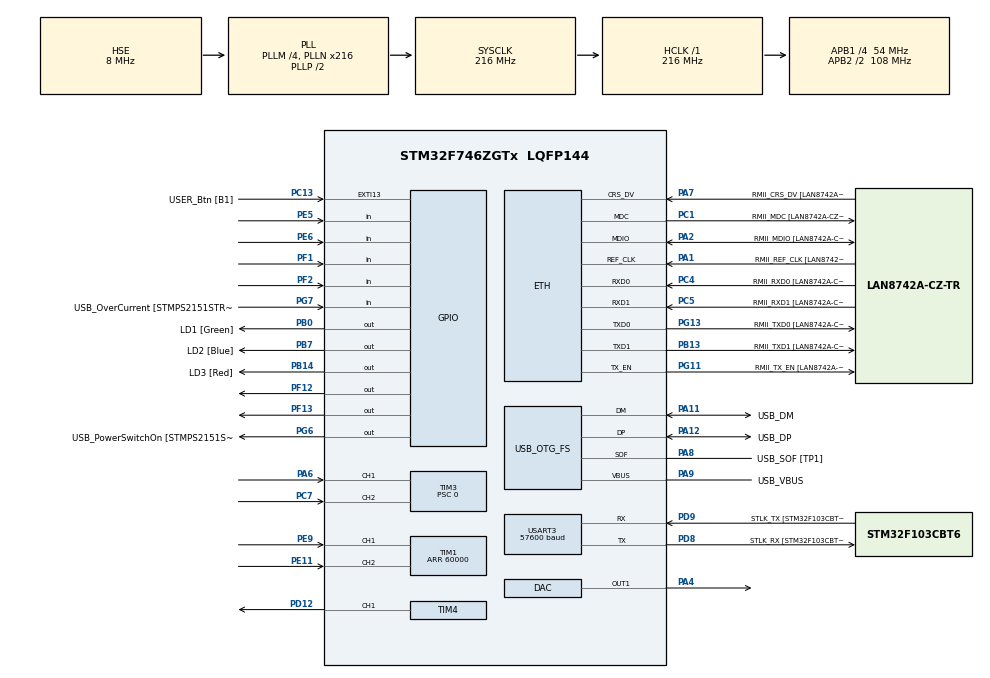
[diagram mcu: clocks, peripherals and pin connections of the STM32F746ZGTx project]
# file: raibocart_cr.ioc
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Dma.Request0=USART3_RX
Dma.Request1=USART3_TX
Dma.USART3_RX.0.Direction=DMA_PERIPH_TO_MEMORY
Dma.USART3_RX.0.FIFOMode=DMA_FIFOMODE_DISABLE
Dma.USART3_RX.0.Instance=DMA1_Stream1
Dma.USART3_RX.0.MemDataAlignment=DMA_MDATAALIGN_BYTE
Dma.USART3_RX.0.MemInc=DMA_MINC_ENABLE
Dma.USART3_RX.0.Mode=DMA_NORMAL
Dma.USART3_RX.0.PeriphDataAlignment=DMA_PDATAALIGN_BYTE
Dma.USART3_RX.0.PeriphInc=DMA_PINC_DISABLE
Dma.USART3_RX.0.Priority=DMA_PRIORITY_LOW
Dma.USART3_TX.1.Direction=DMA_MEMORY_TO_PERIPH
Dma.USART3_TX.1.FIFOMode=DMA_FIFOMODE_DISABLE
Dma.USART3_TX.1.Instance=DMA1_Stream3
Dma.USART3_TX.1.MemDataAlignment=DMA_MDATAALIGN_BYTE
Dma.USART3_TX.1.MemInc=DMA_MINC_ENABLE
Dma.USART3_TX.1.Mode=DMA_NORMAL
Dma.USART3_TX.1.PeriphDataAlignment=DMA_PDATAALIGN_BYTE
Dma.USART3_TX.1.PeriphInc=DMA_PINC_DISABLE
Dma.USART3_TX.1.Priority=DMA_PRIORITY_LOW
ETH.MediaInterface=HAL_ETH_RMII_MODE
ETH.PHY_Name=LAN8742A_PHY_ADDRESS
ETH.PHY_Value=0
ETH.PhyAddress=0
Mcu.Family=STM32F7
Mcu.Name=STM32F746ZGTx
Mcu.Package=LQFP144
NVIC.DMA1_Stream1_IRQn=true\:0\:0\:false\:false\:true\:false\:true\:true
NVIC.DMA1_Stream3_IRQn=true\:0\:0\:false\:false\:true\:false\:true\:true
NVIC.PriorityGroup=NVIC_PRIORITYGROUP_4
NVIC.TIM2_IRQn=true\:0\:0\:false\:false\:true\:true\:true\:true
NVIC.TIM5_IRQn=true\:0\:0\:false\:false\:true\:true\:true\:true
NVIC.USART3_IRQn=true\:0\:0\:false\:false\:true\:true\:true\:true
PA1.GPIO_Label=RMII_REF_CLK [LAN8742A-CZ-TR_REFCLK0]
PA1.Mode=RMII
PA1.Signal=ETH_REF_CLK
PA10.GPIO_Label=USB_ID
PA10.Signal=USB_OTG_FS_ID
PA11.GPIO_Label=USB_DM
PA11.Mode=Device_Only
PA11.Signal=USB_OTG_FS_DM
PA12.GPIO_Label=USB_DP
PA12.Mode=Device_Only
PA12.Signal=USB_OTG_FS_DP
PA13.GPIO_Label=TMS
PA13.Mode=Serial_Wire
PA13.Signal=SYS_JTMS-SWDIO
PA14.GPIO_Label=TCK
PA14.Mode=Serial_Wire
PA14.Signal=SYS_JTCK-SWCLK
PA2.GPIO_Label=RMII_MDIO [LAN8742A-CZ-TR_MDIO]
PA2.Mode=RMII
PA2.Signal=ETH_MDIO
PA4.Signal=COMP_DAC1_group
PA6.Signal=S_TIM3_CH1
PA7.GPIO_Label=RMII_CRS_DV [LAN8742A-CZ-TR_CRS_DV]
PA7.Mode=RMII
PA7.Signal=ETH_CRS_DV
PA8.GPIO_Label=USB_SOF [TP1]
PA8.Mode=Activate_SOF_FS
PA8.Signal=USB_OTG_FS_SOF
PA9.GPIO_Label=USB_VBUS
PA9.Mode=Activate_VBUS
PA9.Signal=USB_OTG_FS_VBUS
PB0.GPIO_Label=LD1 [Green]
PB0.Signal=GPIO_Output
PB13.GPIO_Label=RMII_TXD1 [LAN8742A-CZ-TR_TXD1]
PB13.Mode=RMII
PB13.Signal=ETH_TXD1
PB14.GPIO_Label=LD3 [Red]
PB14.Signal=GPIO_Output
PB3.GPIO_Label=SW0
PB3.Signal=SYS_JTDO-SWO
PB7.GPIO_Label=LD2 [Blue]
PB7.Signal=GPIO_Output
PC1.GPIO_Label=RMII_MDC [LAN8742A-CZ-TR_MDC]
PC1.Mode=RMII
PC1.Signal=ETH_MDC
PC13.GPIO_Label=USER_Btn [B1]
PC13.Signal=GPXTI13
PC14/OSC32_IN.Mode=LSE-External-Oscillator
PC14/OSC32_IN.Signal=RCC_OSC32_IN
PC15/OSC32_OUT.Mode=LSE-External-Oscillator
PC15/OSC32_OUT.Signal=RCC_OSC32_OUT
PC4.GPIO_Label=RMII_RXD0 [LAN8742A-CZ-TR_RXD0]
PC4.Mode=RMII
PC4.Signal=ETH_RXD0
PC5.GPIO_Label=RMII_RXD1 [LAN8742A-CZ-TR_RXD1]
PC5.Mode=RMII
PC5.Signal=ETH_RXD1
PC7.Signal=S_TIM3_CH2
PD12.Signal=S_TIM4_CH1
PD8.GPIO_Label=STLK_RX [STM32F103CBT6_PA3]
PD8.GPIO_PuPd=GPIO_PULLUP
PD8.Mode=Asynchronous
PD8.Signal=USART3_TX
PD9.GPIO_Label=STLK_TX [STM32F103CBT6_PA2]
PD9.GPIO_PuPd=GPIO_PULLUP
PD9.Mode=Asynchronous
PD9.Signal=USART3_RX
PE11.Signal=S_TIM1_CH2
PE5.Signal=GPIO_Input
PE6.Signal=GPIO_Input
PE9.Signal=S_TIM1_CH1
PF1.Signal=GPIO_Input
PF12.Signal=GPIO_Output
PF13.Signal=GPIO_Output
PF2.Signal=GPIO_Input
PG11.GPIO_Label=RMII_TX_EN [LAN8742A-CZ-TR_TXEN]
PG11.Mode=RMII
PG11.Signal=ETH_TX_EN
PG13.GPIO_Label=RMII_TXD0 [LAN8742A-CZ-TR_TXD0]
PG13.Mode=RMII
PG13.Signal=ETH_TXD0
PG6.GPIO_Label=USB_PowerSwitchOn [STMPS2151STR_EN]
PG6.Signal=GPIO_Output
PG7.GPIO_Label=USB_OverCurrent [STMPS2151STR_FAULT]
PG7.Signal=GPIO_Input
PH0/OSC_IN.GPIO_Label=MCO [STM32F103CBT6_PA8]
PH0/OSC_IN.Mode=HSE-External-Clock-Source
PH0/OSC_IN.Signal=RCC_OSC_IN
PH1/OSC_OUT.Mode=HSE-External-Clock-Source
PH1/OSC_OUT.Signal=RCC_OSC_OUT
ProjectManager.HeapSize=0x200
ProjectManager.StackSize=0x400
ProjectManager.TargetToolchain=STM32CubeIDE
RCC.48MHZClocksFreq_Value=24000000
RCC.AHBFreq_Value=216000000
RCC.APB1CLKDivider=RCC_HCLK_DIV4
RCC.APB1Freq_Value=54000000
RCC.APB1TimFreq_Value=108000000
RCC.APB2CLKDivider=RCC_HCLK_DIV2
RCC.APB2Freq_Value=108000000
RCC.APB2TimFreq_Value=216000000
RCC.CortexFreq_Value=216000000
RCC.HCLKFreq_Value=216000000
RCC.HSE_VALUE=8000000
RCC.HSI_VALUE=16000000
RCC.PLLM=4
RCC.PLLMUL=RCC_PLL_MUL9
RCC.PLLN=216
RCC.PLLQ=9
RCC.PRESCALERUSB=RCC_USBCLKSOURCE_PLL_DIV1_5
RCC.SYSCLKFreq_VALUE=216000000
RCC.SYSCLKSource=RCC_SYSCLKSOURCE_PLLCLK
RCC.SYSCLKSourceVirtual=RCC_SYSCLKSOURCE_PLLCLK
RCC.USBFreq_Value=48000000
RCC.VCOOutputFreq_Value=432000000
SH.COMP_DAC1_group.0=DAC_OUT1,DAC_OUT1
SH.S_TIM1_CH1.0=TIM1_CH1,Encoder_Interface
SH.S_TIM1_CH2.0=TIM1_CH2,Encoder_Interface
SH.S_TIM3_CH1.0=TIM3_CH1,Encoder_Interface
SH.S_TIM3_CH2.0=TIM3_CH2,Encoder_Interface
SH.S_TIM4_CH1.0=TIM4_CH1,PWM Generation1 CH1
TIM1.EncoderMode=TIM_ENCODERMODE_TI12
TIM1.Period=60000
TIM2.Period=100000
TIM2.Prescaler=540-1
TIM3.AutoReloadPreload=TIM_AUTORELOAD_PRELOAD_DISABLE
TIM3.EncoderMode=TIM_ENCODERMODE_TI12
TIM3.Period=1000
TIM3.Prescaler=0
TIM4.Channel-PWM\ Generation1\ CH1=TIM_CHANNEL_1
TIM4.Period=1000
TIM4.Prescaler=1
TIM5.Period=1000
TIM5.Prescaler=540-1
USART3.BaudRate=57600
USART3.VirtualMode-Asynchronous=VM_ASYNC
USB_OTG_FS.VirtualMode=Device_Only
VP_TIM2_VS_ClockSourceINT.Mode=Internal
VP_TIM5_VS_ClockSourceINT.Mode=Internal
board=NUCLEO-F746ZG

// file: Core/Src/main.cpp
/* USER CODE BEGIN Header */
/**
  ******************************************************************************
  * @file           : main.c
  * @brief          : Main program body
  ******************************************************************************
  * @attention
  *
  * Copyright (c) 2024 STMicroelectronics.
  * All rights reserved.
  *
  * This software is licensed under terms that can be found in the LICENSE file
  * in the root directory of this software component.
  * If no LICENSE file comes with this software, it is provided AS-IS.
  *
  ******************************************************************************
  */
/* USER CODE END Header */
#include <main.h>
#include <string.h>

/* USER CODE BEGIN Includes */
#include <ros.h>
#include <ros/time.h>
#include <raibo_msgs/speed_fb.h>
#include <raibo_msgs/speed_sp.h>
#include <stdio.h>
/* USER CODE END Includes */

/* USER CODE BEGIN PTD */
typedef struct {
	double pps = 0.0;
	double rpm = 0.0;
	double kmh = 0.0;
	int16_t delta_encoder = 0.0;
	int16_t angular = 0.0;
	int encoder_pose = 0;
	int steering_speed = 0;
} SPEED;

typedef struct {
	double bldc_sp = 0.0;
	double bldc_pv = 0.0;
	double angle_sp = 0.0;
	double angle_pv = 0.0;
} CONTROL;

typedef struct {
	double kp = 0;
	double ki = 0;
	double kd = 0;
	double err = 0;
	double err_l = 0;
	double sum_err = 0;
} PID;
/* USER CODE END PTD */

/* USER CODE BEGIN PD */
#define SPEED_SP	0
#define PUBLISH		1
#define BLDC		2
#define STEERING	3
/* USER CODE END PD */

#if defined ( __ICCARM__ ) /*!< IAR Compiler */
#pragma location=0x2004c000
ETH_DMADescTypeDef  DMARxDscrTab[ETH_RX_DESC_CNT]; /* Ethernet Rx DMA Descriptors */
#pragma location=0x2004c0a0
ETH_DMADescTypeDef  DMATxDscrTab[ETH_TX_DESC_CNT]; /* Ethernet Tx DMA Descriptors */

#elif defined ( __CC_ARM )  /* MDK ARM Compiler */

__attribute__((at(0x2004c000))) ETH_DMADescTypeDef  DMARxDscrTab[ETH_RX_DESC_CNT]; /* Ethernet Rx DMA Descriptors */
__attribute__((at(0x2004c0a0))) ETH_DMADescTypeDef  DMATxDscrTab[ETH_TX_DESC_CNT]; /* Ethernet Tx DMA Descriptors */

#elif defined ( __GNUC__ ) /* GNU Compiler */
ETH_DMADescTypeDef DMARxDscrTab[ETH_RX_DESC_CNT] __attribute__((section(".RxDecripSection"))); /* Ethernet Rx DMA Descriptors */
ETH_DMADescTypeDef DMATxDscrTab[ETH_TX_DESC_CNT] __attribute__((section(".TxDecripSection")));   /* Ethernet Tx DMA Descriptors */

#endif

ETH_TxPacketConfig TxConfig;

DAC_HandleTypeDef hdac;

ETH_HandleTypeDef heth;

TIM_HandleTypeDef htim1;
TIM_HandleTypeDef htim2;
TIM_HandleTypeDef htim3;
TIM_HandleTypeDef htim4;
TIM_HandleTypeDef htim5;

UART_HandleTypeDef huart3;
DMA_HandleTypeDef hdma_usart3_rx;
DMA_HandleTypeDef hdma_usart3_tx;

PCD_HandleTypeDef hpcd_USB_OTG_FS;

/* USER CODE BEGIN PV */
//Initial variable of the control section
CONTROL _cmd_vel;
SPEED _hallBLDC, _encoder;
PID _MotorBLDC, _MotorSteering;
double speed_output;
unsigned char val[100];
unsigned char val1[100];

unsigned char param[100]; //sprintf test
unsigned char param1[100]; //sprintf test

//Initial variable of the control condition
bool initial_state=true;
uint8_t initial_count=0;

bool initial_loop = true;
bool hold_bldc_sp = false;
double pre_bldc_sp = 0;
double lastest_bldc_sp = 0;\

bool dt_init = true;
int time, time_tmp;

// Steering confirm(fix) variable
bool steering_init = false;
int setpoint_right,setpoint_left,setpoint_middle;
//teseting variable
bool steering_PID_state = false;
int number_testing = 0;
/* USER CODE END PV */

void SystemClock_Config(void);
static void MX_GPIO_Init(void);
static void MX_DMA_Init(void);
static void MX_USART3_UART_Init(void);
static void MX_ETH_Init(void);
static void MX_USB_OTG_FS_PCD_Init(void);
static void MX_DAC_Init(void);
static void MX_TIM1_Init(void);
static void MX_TIM2_Init(void);
static void MX_TIM3_Init(void);
static void MX_TIM5_Init(void);
static void MX_TIM4_Init(void);

/* USER CODE BEGIN 0 */
ros::NodeHandle nh_;

raibo_msgs::speed_fb motor_fb_;
ros::Time last_time_[4];

void commandSpeedSPCallback(const raibo_msgs::speed_sp &msg);

ros::Publisher speed_fb_pub_("/micro/speed_fb", &motor_fb_);
ros::Subscriber<raibo_msgs::speed_sp> speed_sp_sub_("/micro/speed_sp",
		&commandSpeedSPCallback);

void HAL_UART_TxCpltCallback(UART_HandleTypeDef *huart) {
	nh_.getHardware()->flush();
}

void HAL_UART_RxCpltCallback(UART_HandleTypeDef *huart) {
	nh_.getHardware()->reset_rbuf();
}

void commandSpeedSPCallback(const raibo_msgs::speed_sp &msg) {
	last_time_[SPEED_SP] = nh_.now();
	_cmd_vel.bldc_sp = (double) msg.bldc_speed_sp;
	_cmd_vel.angle_sp = (double) msg.steering_speed_sp;
	motor_fb_.bldc_rpm_sp = _cmd_vel.bldc_sp;
	motor_fb_.steering_angle_sp = _cmd_vel.angle_sp;
}

void PIDControl_BLDC(PID *_pid_data, double _linear_x, double _pv, double _dt) {
	// init function var
	double dac_speed = 0;
	double min_forward = 1600;
	double min_backward = 1350;
	//prevent sum_err overflow at the start
	if(initial_state){_pid_data->err=0; _pid_data->sum_err += _pid_data->err; initial_count++;}
	if(initial_count>45){initial_state = false;}
	//assign error var
	_pid_data->err = abs(_linear_x) - _pv;
	if (_pid_data->err > 1000.0){_pid_data->err = 1000.0;}
	if (_pid_data->err < -1000.0){_pid_data->err = -1000.0;}
	_pid_data->sum_err += _pid_data->err;

	if(abs(_linear_x) > 1.2){
		dac_speed = (_pid_data->kp * _pid_data->err)
						+ (_pid_data->ki * _pid_data->sum_err * _dt)
						+ (_pid_data->kd * ((_pid_data->err - _pid_data->err_l) / _dt));
		_pid_data->err_l = _pid_data->err;

		if (dac_speed > 4095.0) dac_speed = 4095.0;
		if (dac_speed < 0) dac_speed = 0;
		// reduce scaling time
		speed_output = dac_speed;
	}
	//certain use for lower limit of the car (minimum speed at 0.9 kmh)
	if(abs(_linear_x) <= 0.3 ){_linear_x = 0.0; _pid_data->sum_err = 0; _pid_data->err = 0; speed_output = 0;}
	if(_linear_x > 0.3 && _linear_x <= 1.2){speed_output = min_forward; _pid_data->sum_err = 260; _pid_data->err = 0;}
	if(_linear_x < -0.3 && _linear_x >= -1.2){speed_output = min_backward; _pid_data->sum_err = 260; _pid_data->err = 0;}

	if(_linear_x > 0.0){
		motor_fb_.forward_motor = true;
		if(_pid_data->sum_err <= 260){dac_speed = min_forward;}
	}
	else if(_linear_x < 0.0){
		motor_fb_.forward_motor = false;
		if(_pid_data->sum_err <= 260){dac_speed = min_backward;}
	}
	else{
		motor_fb_.forward_motor = false;
	}

	motor_fb_.bldc_kmph_fb = _pv; // don't change it's for controllino

	motor_fb_.bldc_mps_fb = dac_speed; //in real situation the feedback should be speed_output for accurate speed output.

}

void DACControlSpeed(double _linear_x) {
	PIDControl_BLDC(&_MotorBLDC, _linear_x, _hallBLDC.kmh, 0.5);

	if(!hold_bldc_sp && motor_fb_.forward_motor && speed_output>=1600){
		HAL_DAC_SetValue(&hdac, DAC_CHANNEL_1, DAC_ALIGN_12B_R, speed_output);
	}
	else if(!hold_bldc_sp && !motor_fb_.forward_motor && speed_output>=1350){
		HAL_DAC_SetValue(&hdac, DAC_CHANNEL_1, DAC_ALIGN_12B_R, speed_output);
	}
	else if(hold_bldc_sp){
		HAL_DAC_SetValue(&hdac, DAC_CHANNEL_1, DAC_ALIGN_12B_R, 0);
		if(_hallBLDC.kmh < 0.2){
			HAL_Delay(500);
			hold_bldc_sp = false;
		}
	}
	else{
		HAL_DAC_SetValue(&hdac, DAC_CHANNEL_1, DAC_ALIGN_12B_R, 0);
	}

	motor_fb_.bldc_rpm_fb = _MotorBLDC.sum_err;
}

void Steering_Control(int sp, int ap ,int dt){
	time = HAL_GetTick();
	int err_dt = 0;
	int desire_pose_tmp = 0;
	int desire_pose = sp;

	if(desire_pose != desire_pose_tmp){dt_init = true; desire_pose_tmp = sp; /*_MotorSteering.sum_err = 0; _MotorSteering.err_l = 0;*/}
	if(dt_init){time_tmp = time; dt_init = false;}

	_MotorSteering.err = sp-ap;
	if (_MotorSteering.err > 1000.0){_MotorSteering.err = 1000.0;}
	if (_MotorSteering.err < -1000.0){_MotorSteering.err = -1000.0;}

	if(time - time_tmp >= dt){
		if(abs(_MotorSteering.err)>=10){
		_MotorSteering.sum_err += _MotorSteering.err;
		}
		err_dt = (_MotorSteering.err - _MotorSteering.err_l)/(dt/1000);
		_MotorSteering.err_l = _MotorSteering.err;
		time_tmp = time;
	}

	_encoder.steering_speed = (_MotorSteering.kp*_MotorSteering.err)
			+ (_MotorSteering.ki*_MotorSteering.sum_err)
			+ (_MotorSteering.kd * err_dt);

	if(_encoder.steering_speed > 0){
		HAL_GPIO_WritePin(GPIOF, GPIO_PIN_12, GPIO_PIN_RESET);
		HAL_GPIO_WritePin(GPIOF, GPIO_PIN_13, GPIO_PIN_SET);
	}
	else if(_encoder.steering_speed < 0){
		_encoder.steering_speed *= -1;
		HAL_GPIO_WritePin(GPIOF, GPIO_PIN_12, GPIO_PIN_SET);
		HAL_GPIO_WritePin(GPIOF, GPIO_PIN_13, GPIO_PIN_RESET);
	}
	else if(_encoder.steering_speed == 0){
		HAL_GPIO_WritePin(GPIOF, GPIO_PIN_12, GPIO_PIN_RESET);
		HAL_GPIO_WritePin(GPIOF, GPIO_PIN_13, GPIO_PIN_RESET);
	}

//	sprintf((char*)val,"Cureent_speed %d\r\n", _encoder.steering_speed);
//	HAL_UART_Transmit(&huart3, val, strlen((char*)val), 1000);

	if(_encoder.steering_speed > 1000) _encoder.steering_speed=1000;
	else if(_encoder.steering_speed<200 && _encoder.steering_speed>0) _encoder.steering_speed=200;

	if(abs(_MotorSteering.err)<=10){
		_encoder.steering_speed = 0;
	}
	TIM4->CCR1 = _encoder.steering_speed;
//	if(_MotorSteering.sum_err > -650.0 && _MotorSteering.sum_err < 650.0)steering_PID_state = true;
//	if(_MotorSteering.sum_err < -650.0 && _MotorSteering.sum_err > 650.0)steering_PID_state = false;

	motor_fb_.steering_angle_sp = sp;
	motor_fb_.steering_angular_fb = _encoder.encoder_pose;
	motor_fb_.steering_rpm_fb = TIM4->CCR1;
//	motor_fb_.bldc_mps_fb = _MotorSteering.err;
//	motor_fb_.bldc_kmph_fb = _MotorSteering.sum_err;
//	motor_fb_.bldc_rpm_fb = _encoder.steering_speed;

}

void Steering_Init(){
	bool set_centure = true;
	bool set_wheel = false;
	bool seton_right = true;
	bool seton_left = false;
	int go_right, go_left = 0;

	HAL_DAC_SetValue(&hdac, DAC_CHANNEL_1, DAC_ALIGN_12B_R, 0.0);
	while(set_centure){
		if(seton_right){ //6
			while(!HAL_GPIO_ReadPin(GPIOE, GPIO_PIN_6)){
				HAL_GPIO_WritePin(GPIOF, GPIO_PIN_12, GPIO_PIN_SET);
				HAL_GPIO_WritePin(GPIOF, GPIO_PIN_13, GPIO_PIN_RESET);
				TIM4->CCR1 = 300;
			}
			TIM4->CCR1 = 0;
			go_right = _encoder.encoder_pose;
			seton_left = true;
			seton_right	= false;
		}
		HAL_Delay(600);
		if(seton_left){ //5
			while(!HAL_GPIO_ReadPin(GPIOE, GPIO_PIN_5)){
				HAL_GPIO_WritePin(GPIOF, GPIO_PIN_12, GPIO_PIN_RESET);
				HAL_GPIO_WritePin(GPIOF, GPIO_PIN_13, GPIO_PIN_SET);
				TIM4->CCR1 = 300;
			}
			TIM4->CCR1 = 0;
			go_left = _encoder.encoder_pose;
			setpoint_middle = (go_left + go_right)/2;
			seton_left = false;
			seton_right	= false;
		}
		set_wheel = true;
		set_centure = false;
	}
	HAL_Delay(600);
	while(set_wheel){
		Steering_Control(setpoint_middle,_encoder.encoder_pose,100);
		if(_encoder.encoder_pose<=setpoint_middle+5 && _encoder.encoder_pose>=setpoint_middle-5){
			htim3.Instance->CNT = (setpoint_middle-htim3.Instance->CNT)+500;
			TIM4->CCR1 = 0;
			setpoint_middle = 500; // +- ~190
			setpoint_left = 500 - ((go_right - go_left)/2); //300 - left
			setpoint_right = 500 + ((go_right - go_left)/2); //~700 - right
			set_wheel = false;

//			sprintf((char*)val,"Cureent %d, Left %d,Right %d\r\n", htim3.Instance->CNT, setpoint_left, setpoint_right);
//			HAL_UART_Transmit(&huart3, val, strlen((char*)val), 1000);
		}

	}
	steering_init = true;
}

void ros_setup(void) {
	nh_.initNode();
	nh_.advertise(speed_fb_pub_);
	nh_.subscribe(speed_sp_sub_);

	motor_fb_.bldc_rpm_sp = 0.0;
	motor_fb_.bldc_rpm_fb = 0.0;
	motor_fb_.bldc_mps_fb = 0.0;
	motor_fb_.bldc_kmph_fb = 0.0;
	motor_fb_.steering_angle_sp = 0.0;
	motor_fb_.steering_angular_fb = 0.0;
	motor_fb_.steering_rpm_fb = 0.0;
	motor_fb_.forward_motor = true;

	ros::Time ros_time_setup = nh_.now();

	for (int i = 0; i < 4; ++i) {
		last_time_[i] = ros_time_setup;
	}
}

void ros_loop(void) {
	ros::Time time_now = nh_.now();
	if ((time_now - last_time_[SPEED_SP]).toSec() > 1.0) {
		_cmd_vel.bldc_sp = 0.0;
		_cmd_vel.angle_sp = 0.0;
	}

	if ((time_now - last_time_[PUBLISH]).toSec() > 0.03) {
		speed_fb_pub_.publish(&motor_fb_);
		last_time_[PUBLISH] = time_now;
	}

	if ((time_now - last_time_[BLDC]).toSec() > 0.01) {
		DACControlSpeed(_cmd_vel.bldc_sp);
		last_time_[BLDC] = time_now;
	}

	if ((time_now - last_time_[STEERING]).toSec() > 0.01) {
		if(_cmd_vel.angle_sp > 37){_cmd_vel.angle_sp = 37;} // limit right
		if(_cmd_vel.angle_sp < -37){_cmd_vel.angle_sp = -37;} // limit left
		Steering_Control(int((_cmd_vel.angle_sp*10.89)+500),_encoder.encoder_pose,100);
		last_time_[STEERING] = time_now;
	}

	nh_.spinOnce();
}
/* USER CODE END 0 */

int main(void)
{

  /* MCU Configuration--------------------------------------------------------*/

  /* Reset of all peripherals, Initializes the Flash interface and the Systick. */
  HAL_Init();

  /* Configure the system clock */
  SystemClock_Config();

  /* Initialize all configured peripherals */
  MX_GPIO_Init();
  MX_DMA_Init();
  MX_USART3_UART_Init();
  MX_ETH_Init();
  MX_USB_OTG_FS_PCD_Init();
  MX_DAC_Init();
  MX_TIM1_Init();
  MX_TIM2_Init();
  MX_TIM3_Init();
  MX_TIM5_Init();
  MX_TIM4_Init();
  /* USER CODE BEGIN 2 */

// ROS
	ros_setup();

	// Interrupt
	HAL_TIM_Base_Start_IT(&htim2);
	HAL_TIM_Base_Start_IT(&htim5);

	//PWM
	HAL_TIM_PWM_Start(&htim4, TIM_CHANNEL_1);

	// Hall & Encoder
	htim3.Instance->CNT = 500;
	HAL_TIM_Encoder_Start(&htim1, TIM_CHANNEL_ALL);
	HAL_TIM_Encoder_Start(&htim3, TIM_CHANNEL_ALL);

	// DAC
	HAL_DAC_Start(&hdac, DAC_CHANNEL_1);

	//PID Parameter Initial
	_MotorBLDC.kp = 80;
	_MotorBLDC.ki = 10;
	_MotorBLDC.kd = 0;
	_MotorBLDC.sum_err = 0;

	_MotorSteering.kp = 1.5;
	_MotorSteering.ki = 0.001;
	_MotorSteering.kd = 5;
	_MotorSteering.sum_err = 0.0;

	//Set the mid point of the encoder before initiate
	htim3.Instance->CNT = 500;
	Steering_Init();

	HAL_Delay(1000);
  /* USER CODE END 2 */

  /* Infinite loop */
  /* USER CODE BEGIN WHILE */
  while (1)
  {
//	  steering_PID_state = false;
//	  number_testing = 0;

	   if(initial_loop){pre_bldc_sp = _cmd_vel.bldc_sp; initial_loop = false;}
	   lastest_bldc_sp = _cmd_vel.bldc_sp;
	   if(pre_bldc_sp>0 && lastest_bldc_sp <=0){hold_bldc_sp = true; pre_bldc_sp = lastest_bldc_sp;}
	   if(pre_bldc_sp<=0 && lastest_bldc_sp >0){hold_bldc_sp = true; pre_bldc_sp = lastest_bldc_sp;}

	   ros_loop();

//	  sprintf((char*)param1,"yooooooooo....\r\n");
//	  HAL_UART_Transmit(&huart3, param1, strlen((char*)param1), 1000);
//	  Steering_Control(int((10*10.89)+500),_encoder.encoder_pose,100);
//	  while(!steering_PID_state){
//		  Steering_Control(int((-6*10.89)+500),_encoder.encoder_pose,100);
//		  TIM4->CCR1 = _encoder.steering_speed;
//		  sprintf((char*)val,"Return 0..\r\n");
//		  HAL_UART_Transmit(&huart3, val, strlen((char*)val), 1000);
//	  }

//	  HAL_Delay(1000);
//	  Steering_Control(int((0*10.89)+500),_encoder.encoder_pose,100);
//	  HAL_Delay(1000);

	  //ros_loop();
    /* USER CODE END WHILE */

  }
}

void SystemClock_Config(void)
{
  RCC_OscInitTypeDef RCC_OscInitStruct = {0};
  RCC_ClkInitTypeDef RCC_ClkInitStruct = {0};

  /** Configure LSE Drive Capability
  */
  HAL_PWR_EnableBkUpAccess();

  /** Configure the main internal regulator output voltage
  */
  __HAL_RCC_PWR_CLK_ENABLE();
  __HAL_PWR_VOLTAGESCALING_CONFIG(PWR_REGULATOR_VOLTAGE_SCALE1);

  /** Initializes the RCC Oscillators according to the specified parameters
  * in the RCC_OscInitTypeDef structure.
  */
  RCC_OscInitStruct.OscillatorType = RCC_OSCILLATORTYPE_HSE;
  RCC_OscInitStruct.HSEState = RCC_HSE_BYPASS;
  RCC_OscInitStruct.PLL.PLLState = RCC_PLL_ON;
  RCC_OscInitStruct.PLL.PLLSource = RCC_PLLSOURCE_HSE;
  RCC_OscInitStruct.PLL.PLLM = 4;
  RCC_OscInitStruct.PLL.PLLN = 216;
  RCC_OscInitStruct.PLL.PLLP = RCC_PLLP_DIV2;
  RCC_OscInitStruct.PLL.PLLQ = 9;
  if (HAL_RCC_OscConfig(&RCC_OscInitStruct) != HAL_OK)
  {
    Error_Handler();
  }

  /** Activate the Over-Drive mode
  */
  if (HAL_PWREx_EnableOverDrive() != HAL_OK)
  {
    Error_Handler();
  }

  /** Initializes the CPU, AHB and APB buses clocks
  */
  RCC_ClkInitStruct.ClockType = RCC_CLOCKTYPE_HCLK|RCC_CLOCKTYPE_SYSCLK
                              |RCC_CLOCKTYPE_PCLK1|RCC_CLOCKTYPE_PCLK2;
  RCC_ClkInitStruct.SYSCLKSource = RCC_SYSCLKSOURCE_PLLCLK;
  RCC_ClkInitStruct.AHBCLKDivider = RCC_SYSCLK_DIV1;
  RCC_ClkInitStruct.APB1CLKDivider = RCC_HCLK_DIV4;
  RCC_ClkInitStruct.APB2CLKDivider = RCC_HCLK_DIV2;

  if (HAL_RCC_ClockConfig(&RCC_ClkInitStruct, FLASH_LATENCY_7) != HAL_OK)
  {
    Error_Handler();
  }
}

static void MX_DAC_Init(void)
{

  DAC_ChannelConfTypeDef sConfig = {0};

  /** DAC Initialization
  */
  hdac.Instance = DAC;
  if (HAL_DAC_Init(&hdac) != HAL_OK)
  {
    Error_Handler();
  }

  /** DAC channel OUT1 config
  */
  sConfig.DAC_Trigger = DAC_TRIGGER_NONE;
  sConfig.DAC_OutputBuffer = DAC_OUTPUTBUFFER_ENABLE;
  if (HAL_DAC_ConfigChannel(&hdac, &sConfig, DAC_CHANNEL_1) != HAL_OK)
  {
    Error_Handler();
  }

}

static void MX_ETH_Init(void)
{

   static uint8_t MACAddr[6];

  heth.Instance = ETH;
  MACAddr[0] = 0x00;
  MACAddr[1] = 0x80;
  MACAddr[2] = 0xE1;
  MACAddr[3] = 0x00;
  MACAddr[4] = 0x00;
  MACAddr[5] = 0x00;
  heth.Init.MACAddr = &MACAddr[0];
  heth.Init.MediaInterface = HAL_ETH_RMII_MODE;
  heth.Init.TxDesc = DMATxDscrTab;
  heth.Init.RxDesc = DMARxDscrTab;
  heth.Init.RxBuffLen = 1524;

  if (HAL_ETH_Init(&heth) != HAL_OK)
  {
    Error_Handler();
  }

  memset(&TxConfig, 0 , sizeof(ETH_TxPacketConfig));
  TxConfig.Attributes = ETH_TX_PACKETS_FEATURES_CSUM | ETH_TX_PACKETS_FEATURES_CRCPAD;
  TxConfig.ChecksumCtrl = ETH_CHECKSUM_IPHDR_PAYLOAD_INSERT_PHDR_CALC;
  TxConfig.CRCPadCtrl = ETH_CRC_PAD_INSERT;

}

static void MX_TIM1_Init(void)
{

  TIM_Encoder_InitTypeDef sConfig = {0};
  TIM_MasterConfigTypeDef sMasterConfig = {0};

  htim1.Instance = TIM1;
  htim1.Init.Prescaler = 0;
  htim1.Init.CounterMode = TIM_COUNTERMODE_UP;
  htim1.Init.Period = 60000;
  htim1.Init.ClockDivision = TIM_CLOCKDIVISION_DIV1;
  htim1.Init.RepetitionCounter = 0;
  htim1.Init.AutoReloadPreload = TIM_AUTORELOAD_PRELOAD_DISABLE;
  sConfig.EncoderMode = TIM_ENCODERMODE_TI12;
  sConfig.IC1Polarity = TIM_ICPOLARITY_RISING;
  sConfig.IC1Selection = TIM_ICSELECTION_DIRECTTI;
  sConfig.IC1Prescaler = TIM_ICPSC_DIV1;
  sConfig.IC1Filter = 0;
  sConfig.IC2Polarity = TIM_ICPOLARITY_RISING;
  sConfig.IC2Selection = TIM_ICSELECTION_DIRECTTI;
  sConfig.IC2Prescaler = TIM_ICPSC_DIV1;
  sConfig.IC2Filter = 0;
  if (HAL_TIM_Encoder_Init(&htim1, &sConfig) != HAL_OK)
  {
    Error_Handler();
  }
  sMasterConfig.MasterOutputTrigger = TIM_TRGO_RESET;
  sMasterConfig.MasterOutputTrigger2 = TIM_TRGO2_RESET;
  sMasterConfig.MasterSlaveMode = TIM_MASTERSLAVEMODE_DISABLE;
  if (HAL_TIMEx_MasterConfigSynchronization(&htim1, &sMasterConfig) != HAL_OK)
  {
    Error_Handler();
  }

}

static void MX_TIM2_Init(void)
{

  TIM_ClockConfigTypeDef sClockSourceConfig = {0};
  TIM_MasterConfigTypeDef sMasterConfig = {0};

  htim2.Instance = TIM2;
  htim2.Init.Prescaler = 540-1;
  htim2.Init.CounterMode = TIM_COUNTERMODE_UP;
  htim2.Init.Period = 100000;
  htim2.Init.ClockDivision = TIM_CLOCKDIVISION_DIV1;
  htim2.Init.AutoReloadPreload = TIM_AUTORELOAD_PRELOAD_DISABLE;
  if (HAL_TIM_Base_Init(&htim2) != HAL_OK)
  {
    Error_Handler();
  }
  sClockSourceConfig.ClockSource = TIM_CLOCKSOURCE_INTERNAL;
  if (HAL_TIM_ConfigClockSource(&htim2, &sClockSourceConfig) != HAL_OK)
  {
    Error_Handler();
  }
  sMasterConfig.MasterOutputTrigger = TIM_TRGO_RESET;
  sMasterConfig.MasterSlaveMode = TIM_MASTERSLAVEMODE_DISABLE;
  if (HAL_TIMEx_MasterConfigSynchronization(&htim2, &sMasterConfig) != HAL_OK)
  {
    Error_Handler();
  }

}

static void MX_TIM3_Init(void)
{

  TIM_Encoder_InitTypeDef sConfig = {0};
  TIM_MasterConfigTypeDef sMasterConfig = {0};

  htim3.Instance = TIM3;
  htim3.Init.Prescaler = 1;
  htim3.Init.CounterMode = TIM_COUNTERMODE_UP;
  htim3.Init.Period = 1000;
  htim3.Init.ClockDivision = TIM_CLOCKDIVISION_DIV1;
  htim3.Init.AutoReloadPreload = TIM_AUTORELOAD_PRELOAD_DISABLE;
  sConfig.EncoderMode = TIM_ENCODERMODE_TI12;
  sConfig.IC1Polarity = TIM_ICPOLARITY_RISING;
  sConfig.IC1Selection = TIM_ICSELECTION_DIRECTTI;
  sConfig.IC1Prescaler = TIM_ICPSC_DIV1;
  sConfig.IC1Filter = 0;
  sConfig.IC2Polarity = TIM_ICPOLARITY_RISING;
  sConfig.IC2Selection = TIM_ICSELECTION_DIRECTTI;
  sConfig.IC2Prescaler = TIM_ICPSC_DIV1;
  sConfig.IC2Filter = 0;
  if (HAL_TIM_Encoder_Init(&htim3, &sConfig) != HAL_OK)
  {
    Error_Handler();
  }
  sMasterConfig.MasterOutputTrigger = TIM_TRGO_RESET;
  sMasterConfig.MasterSlaveMode = TIM_MASTERSLAVEMODE_DISABLE;
  if (HAL_TIMEx_MasterConfigSynchronization(&htim3, &sMasterConfig) != HAL_OK)
  {
    Error_Handler();
  }

}

static void MX_TIM4_Init(void)
{

  TIM_MasterConfigTypeDef sMasterConfig = {0};
  TIM_OC_InitTypeDef sConfigOC = {0};

  htim4.Instance = TIM4;
  htim4.Init.Prescaler = 1;
  htim4.Init.CounterMode = TIM_COUNTERMODE_UP;
  htim4.Init.Period = 1000;
  htim4.Init.ClockDivision = TIM_CLOCKDIVISION_DIV1;
  htim4.Init.AutoReloadPreload = TIM_AUTORELOAD_PRELOAD_DISABLE;
  if (HAL_TIM_PWM_Init(&htim4) != HAL_OK)
  {
    Error_Handler();
  }
  sMasterConfig.MasterOutputTrigger = TIM_TRGO_RESET;
  sMasterConfig.MasterSlaveMode = TIM_MASTERSLAVEMODE_DISABLE;
  if (HAL_TIMEx_MasterConfigSynchronization(&htim4, &sMasterConfig) != HAL_OK)
  {
    Error_Handler();
  }
  sConfigOC.OCMode = TIM_OCMODE_PWM1;
  sConfigOC.Pulse = 0;
  sConfigOC.OCPolarity = TIM_OCPOLARITY_HIGH;
  sConfigOC.OCFastMode = TIM_OCFAST_DISABLE;
  if (HAL_TIM_PWM_ConfigChannel(&htim4, &sConfigOC, TIM_CHANNEL_1) != HAL_OK)
  {
    Error_Handler();
  }
  HAL_TIM_MspPostInit(&htim4);

}

static void MX_TIM5_Init(void)
{

  TIM_ClockConfigTypeDef sClockSourceConfig = {0};
  TIM_MasterConfigTypeDef sMasterConfig = {0};

  htim5.Instance = TIM5;
  htim5.Init.Prescaler = 540-1;
  htim5.Init.CounterMode = TIM_COUNTERMODE_UP;
  htim5.Init.Period = 1000;
  htim5.Init.ClockDivision = TIM_CLOCKDIVISION_DIV1;
  htim5.Init.AutoReloadPreload = TIM_AUTORELOAD_PRELOAD_DISABLE;
  if (HAL_TIM_Base_Init(&htim5) != HAL_OK)
  {
    Error_Handler();
  }
  sClockSourceConfig.ClockSource = TIM_CLOCKSOURCE_INTERNAL;
  if (HAL_TIM_ConfigClockSource(&htim5, &sClockSourceConfig) != HAL_OK)
  {
    Error_Handler();
  }
  sMasterConfig.MasterOutputTrigger = TIM_TRGO_RESET;
  sMasterConfig.MasterSlaveMode = TIM_MASTERSLAVEMODE_DISABLE;
  if (HAL_TIMEx_MasterConfigSynchronization(&htim5, &sMasterConfig) != HAL_OK)
  {
    Error_Handler();
  }

}

static void MX_USART3_UART_Init(void)
{

  huart3.Instance = USART3;
  huart3.Init.BaudRate = 57600;
  huart3.Init.WordLength = UART_WORDLENGTH_8B;
  huart3.Init.StopBits = UART_STOPBITS_1;
  huart3.Init.Parity = UART_PARITY_NONE;
  huart3.Init.Mode = UART_MODE_TX_RX;
  huart3.Init.HwFlowCtl = UART_HWCONTROL_NONE;
  huart3.Init.OverSampling = UART_OVERSAMPLING_16;
  huart3.Init.OneBitSampling = UART_ONE_BIT_SAMPLE_DISABLE;
  huart3.AdvancedInit.AdvFeatureInit = UART_ADVFEATURE_NO_INIT;
  if (HAL_UART_Init(&huart3) != HAL_OK)
  {
    Error_Handler();
  }

}

static void MX_USB_OTG_FS_PCD_Init(void)
{

  hpcd_USB_OTG_FS.Instance = USB_OTG_FS;
  hpcd_USB_OTG_FS.Init.dev_endpoints = 6;
  hpcd_USB_OTG_FS.Init.speed = PCD_SPEED_FULL;
  hpcd_USB_OTG_FS.Init.dma_enable = DISABLE;
  hpcd_USB_OTG_FS.Init.phy_itface = PCD_PHY_EMBEDDED;
  hpcd_USB_OTG_FS.Init.Sof_enable = ENABLE;
  hpcd_USB_OTG_FS.Init.low_power_enable = DISABLE;
  hpcd_USB_OTG_FS.Init.lpm_enable = DISABLE;
  hpcd_USB_OTG_FS.Init.vbus_sensing_enable = ENABLE;
  hpcd_USB_OTG_FS.Init.use_dedicated_ep1 = DISABLE;
  if (HAL_PCD_Init(&hpcd_USB_OTG_FS) != HAL_OK)
  {
    Error_Handler();
  }

}

static void MX_DMA_Init(void)
{

  /* DMA controller clock enable */
  __HAL_RCC_DMA1_CLK_ENABLE();

  /* DMA interrupt init */
  /* DMA1_Stream1_IRQn interrupt configuration */
  HAL_NVIC_SetPriority(DMA1_Stream1_IRQn, 0, 0);
  HAL_NVIC_EnableIRQ(DMA1_Stream1_IRQn);
  /* DMA1_Stream3_IRQn interrupt configuration */
  HAL_NVIC_SetPriority(DMA1_Stream3_IRQn, 0, 0);
  HAL_NVIC_EnableIRQ(DMA1_Stream3_IRQn);

}

static void MX_GPIO_Init(void)
{
  GPIO_InitTypeDef GPIO_InitStruct = {0};

  /* GPIO Ports Clock Enable */
  __HAL_RCC_GPIOE_CLK_ENABLE();
  __HAL_RCC_GPIOC_CLK_ENABLE();
  __HAL_RCC_GPIOF_CLK_ENABLE();
  __HAL_RCC_GPIOH_CLK_ENABLE();
  __HAL_RCC_GPIOA_CLK_ENABLE();
  __HAL_RCC_GPIOB_CLK_ENABLE();
  __HAL_RCC_GPIOD_CLK_ENABLE();
  __HAL_RCC_GPIOG_CLK_ENABLE();

  /*Configure GPIO pin Output Level */
  HAL_GPIO_WritePin(GPIOB, LD1_Pin|LD3_Pin|LD2_Pin, GPIO_PIN_RESET);

  /*Configure GPIO pin Output Level */
  HAL_GPIO_WritePin(GPIOF, GPIO_PIN_12|GPIO_PIN_13, GPIO_PIN_RESET);

  /*Configure GPIO pin Output Level */
  HAL_GPIO_WritePin(USB_PowerSwitchOn_GPIO_Port, USB_PowerSwitchOn_Pin, GPIO_PIN_RESET);

  /*Configure GPIO pins : PE5 PE6 */
  GPIO_InitStruct.Pin = GPIO_PIN_5|GPIO_PIN_6;
  GPIO_InitStruct.Mode = GPIO_MODE_INPUT;
  GPIO_InitStruct.Pull = GPIO_NOPULL;
  HAL_GPIO_Init(GPIOE, &GPIO_InitStruct);

  /*Configure GPIO pin : USER_Btn_Pin */
  GPIO_InitStruct.Pin = USER_Btn_Pin;
  GPIO_InitStruct.Mode = GPIO_MODE_IT_RISING;
  GPIO_InitStruct.Pull = GPIO_NOPULL;
  HAL_GPIO_Init(USER_Btn_GPIO_Port, &GPIO_InitStruct);

  /*Configure GPIO pins : PF1 PF2 */
  GPIO_InitStruct.Pin = GPIO_PIN_1|GPIO_PIN_2;
  GPIO_InitStruct.Mode = GPIO_MODE_INPUT;
  GPIO_InitStruct.Pull = GPIO_NOPULL;
  HAL_GPIO_Init(GPIOF, &GPIO_InitStruct);

  /*Configure GPIO pins : LD1_Pin LD3_Pin LD2_Pin */
  GPIO_InitStruct.Pin = LD1_Pin|LD3_Pin|LD2_Pin;
  GPIO_InitStruct.Mode = GPIO_MODE_OUTPUT_PP;
  GPIO_InitStruct.Pull = GPIO_NOPULL;
  GPIO_InitStruct.Speed = GPIO_SPEED_FREQ_LOW;
  HAL_GPIO_Init(GPIOB, &GPIO_InitStruct);

  /*Configure GPIO pins : PF12 PF13 */
  GPIO_InitStruct.Pin = GPIO_PIN_12|GPIO_PIN_13;
  GPIO_InitStruct.Mode = GPIO_MODE_OUTPUT_PP;
  GPIO_InitStruct.Pull = GPIO_NOPULL;
  GPIO_InitStruct.Speed = GPIO_SPEED_FREQ_LOW;
  HAL_GPIO_Init(GPIOF, &GPIO_InitStruct);

  /*Configure GPIO pin : USB_PowerSwitchOn_Pin */
  GPIO_InitStruct.Pin = USB_PowerSwitchOn_Pin;
  GPIO_InitStruct.Mode = GPIO_MODE_OUTPUT_PP;
  GPIO_InitStruct.Pull = GPIO_NOPULL;
  GPIO_InitStruct.Speed = GPIO_SPEED_FREQ_LOW;
  HAL_GPIO_Init(USB_PowerSwitchOn_GPIO_Port, &GPIO_InitStruct);

  /*Configure GPIO pin : USB_OverCurrent_Pin */
  GPIO_InitStruct.Pin = USB_OverCurrent_Pin;
  GPIO_InitStruct.Mode = GPIO_MODE_INPUT;
  GPIO_InitStruct.Pull = GPIO_NOPULL;
  HAL_GPIO_Init(USB_OverCurrent_GPIO_Port, &GPIO_InitStruct);

}

/* USER CODE BEGIN 4 */
void HAL_TIM_PeriodElapsedCallback(TIM_HandleTypeDef *htim){
	if(htim->Instance == TIM2){
		_hallBLDC.delta_encoder = htim1.Instance->CNT - 30000;
		_hallBLDC.pps = abs(_hallBLDC.delta_encoder) * 2.0f;
		_hallBLDC.rpm = _hallBLDC.pps * 60 / 200.0;
		_hallBLDC.kmh = (_hallBLDC.rpm * 60 * 1.276096f)/1000;

//		sprintf((char*)val,"%d\r\n", _hallBLDC.delta_encoder);
//		HAL_UART_Transmit(&huart3, val, strlen((char*)val), 1000);

		htim1.Instance->CNT = 30000;
		HAL_GPIO_TogglePin(GPIOB, GPIO_PIN_0);
	}
	if(htim->Instance == TIM5){
		if(steering_init){
			if(htim3.Instance -> CNT > setpoint_right && HAL_GPIO_ReadPin(GPIOE, GPIO_PIN_6)){
				htim3.Instance -> CNT = setpoint_right;
			}
			if(htim3.Instance -> CNT < setpoint_left && HAL_GPIO_ReadPin(GPIOE, GPIO_PIN_5)){
				htim3.Instance -> CNT = setpoint_left;
			}
		}
		_encoder.encoder_pose = htim3.Instance -> CNT;
//		sprintf((char*)val,"%d\r\n", _encoder.encoder_pose);
//		HAL_UART_Transmit(&huart3, val, strlen((char*)val), 1000);
	}
}

/* USER CODE END 4 */

void Error_Handler(void)
{
  __disable_irq();
  while (1)
  {
  }
}
